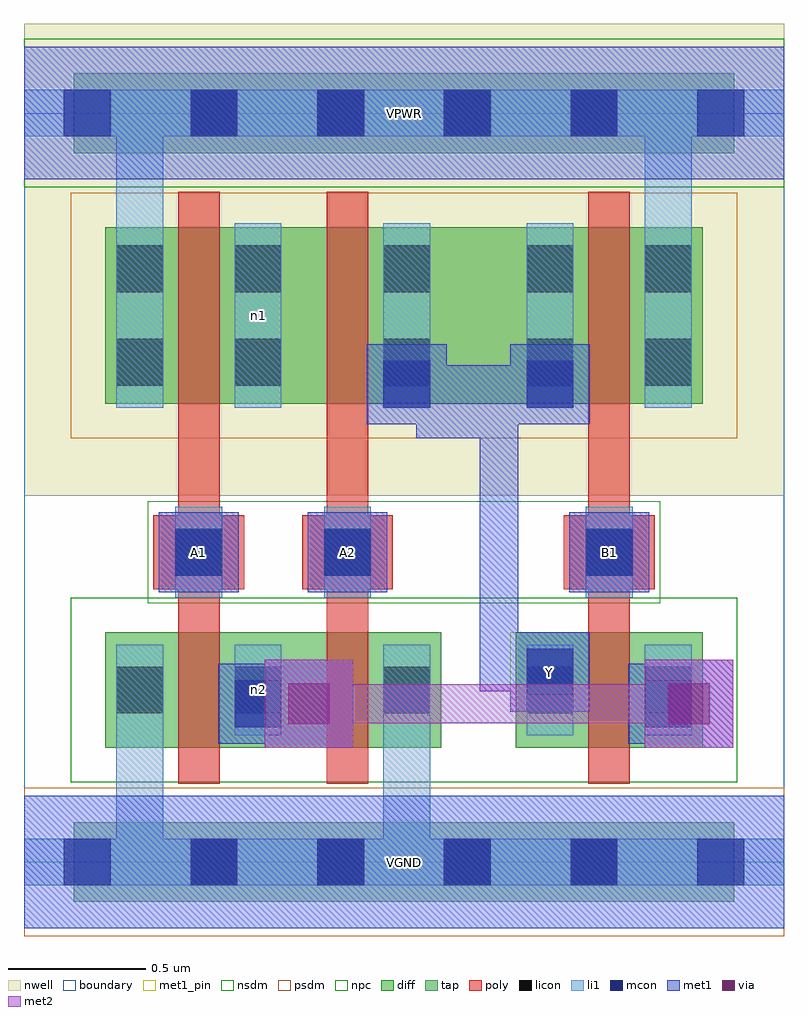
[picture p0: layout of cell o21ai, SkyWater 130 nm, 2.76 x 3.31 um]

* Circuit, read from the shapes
.subckt o21ai A1 A2 B1 VGND VPWR Y n1 n2
XM1 n2 A1 VGND VGND sky130_fd_pr__nfet_01v8 w=0.42 l=0.15
XM2 VGND A2 n2 VGND sky130_fd_pr__nfet_01v8 w=0.42 l=0.15
XM3 n2 B1 Y VGND sky130_fd_pr__nfet_01v8 w=0.42 l=0.15
XM4 n1 A1 VPWR VPWR sky130_fd_pr__pfet_01v8 w=0.64 l=0.15
XM5 Y A2 n1 VPWR sky130_fd_pr__pfet_01v8 w=0.64 l=0.15
XM6 VPWR B1 Y VPWR sky130_fd_pr__pfet_01v8 w=0.64 l=0.15
.ends

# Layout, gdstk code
import gdstk
lib = gdstk.Library(unit=1e-6, precision=1e-09)
def R(c, l, rs):  # rectangles x0, y0, x1, y1
    for r in rs: c.add(gdstk.rectangle(r[:2], r[2:], *l))
def A(c, l, x, y, w, h, nx, ny, dx, dy):  # array of equal rectangles
    R(c, l, [(x+i*dx, y+j*dy, x+i*dx+w, y+j*dy+h) for i in range(nx) for j in range(ny)])
nwell = (64, 20)
diff = (65, 20)
tap = (65, 44)
poly = (66, 20)
licon = (66, 44)
li1 = (67, 20)
mcon = (67, 44)
met1_pin = (68, 16)
met1 = (68, 20)
via = (68, 44)
met2 = (69, 20)
nsdm = (93, 44)
psdm = (94, 20)
npc = (95, 20)
boundary = (235, 4)

o21ai = lib.new_cell('o21ai')
R(o21ai, nwell, [(0,1.33,2.76,3.045)])
R(o21ai, diff, [(0.295,0.415,1.515,0.835), (1.785,0.415,2.465,0.835), (0.295,1.665,2.465,2.305)])
R(o21ai, tap, [(0.18,-0.145,2.58,0.145), (0.18,2.575,2.58,2.865)])
R(o21ai, poly, [(0.56,0.285,0.71,2.435), (1.1,0.285,1.25,2.435), (2.05,0.285,2.2,2.435), (0.47,0.99,0.8,1.26), (1.01,0.99,1.34,1.26), (1.96,0.99,2.29,1.26)])
A(o21ai, licon, 0.605, -0.085, 0.17, 0.17, 4, 2, 0.46, 2.72)
R(o21ai, licon, [(0.335,0.54,0.505,0.71), (0.765,0.54,0.935,0.71), (1.305,0.54,1.475,0.71), (1.825,0.54,1.995,0.71), (2.255,0.54,2.425,0.71), (0.55,1.04,0.72,1.21), (1.09,1.04,1.26,1.21), (2.04,1.04,2.21,1.21), (0.335,1.73,0.505,1.9), (0.765,1.73,0.935,1.9), (1.305,1.73,1.475,1.9), (1.825,1.73,1.995,1.9), (2.255,1.73,2.425,1.9), (0.335,2.07,0.505,2.24), (0.765,2.07,0.935,2.24), (1.305,2.07,1.475,2.24), (1.825,2.07,1.995,2.24), (2.255,2.07,2.425,2.24)])
R(o21ai, li1, [(0,-0.085,2.76,0.085), (0.335,-0.085,0.505,0.79), (1.305,-0.085,1.475,0.79), (0.335,0.46,0.505,0.79), (0.765,0.46,0.935,0.79), (1.305,0.46,1.475,0.79), (1.825,0.46,1.995,0.79), (2.255,0.46,2.425,0.79), (0.55,0.96,0.72,1.29), (1.09,0.96,1.26,1.29), (2.04,0.96,2.21,1.29), (0.335,1.65,0.505,2.32), (0.335,1.65,0.505,2.805), (0.765,1.65,0.935,2.32), (1.305,1.65,1.475,2.32), (1.825,1.65,1.995,2.32), (2.255,1.65,2.425,2.32), (2.255,1.65,2.425,2.805), (0,2.635,2.76,2.805)])
A(o21ai, mcon, 0.145, -0.085, 0.17, 0.17, 6, 2, 0.46, 2.72)
R(o21ai, mcon, [(0.765,0.49,0.935,0.66), (2.255,0.49,2.425,0.66), (1.825,0.605,1.995,0.775), (0.55,1.04,0.72,1.21), (1.09,1.04,1.26,1.21), (2.04,1.04,2.21,1.21), (1.305,1.65,1.475,1.82), (1.825,1.65,1.995,1.82)])
R(o21ai, met1_pin, [(0,-0.24,2.76,0.24), (1.765,0.545,2.055,0.835), (0.49,0.98,0.78,1.27), (1.03,0.98,1.32,1.27), (1.98,0.98,2.27,1.27), (0,2.48,2.76,2.96)])
R(o21ai, met1, [(0,-0.24,2.76,0.24), (0.875,0.415,1.195,0.735), (2.255,0.415,2.575,0.735), (0.705,0.43,0.995,0.72), (2.195,0.43,2.485,0.72), (0.78,0.505,1.105,0.645), (2.27,0.505,2.485,0.645), (1.765,0.545,2.055,0.835), (1.655,0.62,1.98,0.76), (1.655,0.62,1.795,1.68), (0.49,0.98,0.78,1.27), (1.03,0.98,1.32,1.27), (1.98,0.98,2.27,1.27), (1.425,1.54,1.565,1.805), (1.425,1.54,1.795,1.68), (1.565,1.54,1.655,1.805), (1.655,1.54,1.795,1.805), (1.245,1.59,1.535,1.88), (1.535,1.59,1.655,1.805), (1.765,1.59,2.055,1.88), (1.32,1.665,1.565,1.805), (1.535,1.665,1.655,1.805), (1.565,1.665,1.655,1.805), (1.655,1.665,1.98,1.805), (0,2.48,2.76,2.96)])
R(o21ai, via, [(0.96,0.5,1.11,0.65), (2.34,0.5,2.49,0.65)])
R(o21ai, met2, [(0.875,0.415,1.195,0.735), (2.255,0.415,2.575,0.735), (0.965,0.505,2.485,0.645)])
R(o21ai, nsdm, [(0.17,0.29,2.59,0.96), (0,2.45,2.76,2.99)])
R(o21ai, psdm, [(0,-0.27,2.76,0.27), (0.17,1.54,2.59,2.43)])
R(o21ai, npc, [(0.45,0.94,2.31,1.31)])
R(o21ai, boundary, [(0,0,2.76,2.72)])
o21ai.add(gdstk.Label('n1', (0.85,1.985), layer=67, texttype=5))
o21ai.add(gdstk.Label('n2', (0.85,0.625), layer=67, texttype=5))
o21ai.add(gdstk.Label('A1', (0.635,1.125), layer=68, texttype=5))
o21ai.add(gdstk.Label('A2', (1.175,1.125), layer=68, texttype=5))
o21ai.add(gdstk.Label('B1', (2.125,1.125), layer=68, texttype=5))
o21ai.add(gdstk.Label('Y', (1.91,0.69), layer=68, texttype=5))
o21ai.add(gdstk.Label('VPWR', (1.38,2.72), layer=68, texttype=5))
o21ai.add(gdstk.Label('VGND', (1.38,0), layer=68, texttype=5))
o21ai.add(gdstk.Label('A1', (0.635,1.125), layer=68, texttype=16))
o21ai.add(gdstk.Label('A2', (1.175,1.125), layer=68, texttype=16))
o21ai.add(gdstk.Label('B1', (2.125,1.125), layer=68, texttype=16))
o21ai.add(gdstk.Label('Y', (1.91,0.69), layer=68, texttype=16))
o21ai.add(gdstk.Label('VPWR', (1.38,2.72), layer=68, texttype=16))
o21ai.add(gdstk.Label('VGND', (1.38,0), layer=68, texttype=16))

lib.write_gds('o21ai.gds')
